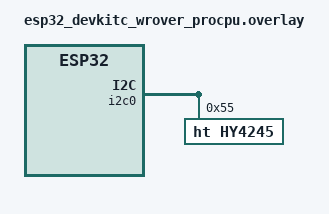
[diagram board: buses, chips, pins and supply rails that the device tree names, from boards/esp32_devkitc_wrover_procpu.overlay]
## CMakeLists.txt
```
# SPDX-License-Identifier: Apache-2.0

cmake_minimum_required(VERSION 3.20.0)
find_package(Zephyr REQUIRED HINTS $ENV{ZEPHYR_BASE})
project(hy4245)

FILE(GLOB app_sources src/*.c)
target_sources(app PRIVATE ${app_sources})
```

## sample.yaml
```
sample:
  name: HY4245 Sensor sample
```

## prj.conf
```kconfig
#CONFIG_LOG=y
#CONFIG_LOG_MODE_IMMEDIATE=y 
CONFIG_FUEL_GAUGE=y
CONFIG_SHELL=y
CONFIG_I2C=y
CONFIG_I2C_SHELL=y
```

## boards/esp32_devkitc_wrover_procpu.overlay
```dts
/*
 * Copyright (c) 2025 Linumiz
 *
 * SPDX-License-Identifier: Apache-2.0
 */


&i2c0 {
	status = "okay";
	pinctrl-0 = <&i2c0_default>;
	pinctrl-names = "default";
	hy4245:hy4245@55 {
		compatible = "ht,hy4245";
		status = "ok";
		reg = <0x55>;
	};
};
```

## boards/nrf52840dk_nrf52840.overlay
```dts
/*
 * Copyright (c) 2025 Linumiz
 *
 * SPDX-License-Identifier: Apache-2.0
 */

&i2c0 {
	status = "okay";
	compatible = "nordic,nrf-twim";
	pinctrl-0 = <&i2c0_default>;
	pinctrl-1 = <&i2c0_sleep>;
	pinctrl-names = "default", "sleep";
	hy4245:hy4245@55 {
		compatible = "ht,hy4245";
		status = "ok";
		reg = <0x55>;
	};
};
```

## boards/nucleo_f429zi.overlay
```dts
/*
 * Copyright (c) 2025 Linumiz
 *
 * SPDX-License-Identifier: Apache-2.0
 */

&i2c1 {
	status = "okay";
	hy4245:hy4245@55 {
		compatible = "ht,hy4245";
		status = "okay";
		reg = <0x55>;
	};
};
```

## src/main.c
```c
/*
 * Copyright (c) 2025
 *
 * SPDX-License-Identifier: Apache-2.0
 */

#include "zephyr/sys/util.h"
#include <zephyr/kernel.h>
#include <zephyr/device.h>
#include <zephyr/devicetree.h>
#include <zephyr/drivers/fuel_gauge.h>
#include <string.h>

int main(void)
{
	const struct device *const dev = DEVICE_DT_GET_ANY(ht_hy4245);
	int ret = 0;
	uint8_t data[32] = {0};

	if (dev == NULL) {
		printk("\nError: no device found.\n");
		return 0;
	}

	if (!device_is_ready(dev)) {
		printk("\nError: Device \"%s\" is not ready; "
		       "check the driver initialization logs for errors.\n",
		       dev->name);
		return 0;
	}

	printk("Found device \"%s\", getting fuel gauge data\n", dev->name);

	if (dev == NULL) {
		return 0;
	}

#if 0
	ret = hy4245_enable_flash_access(dev);
	if (ret) {
		printk("enable flash access err %d\n", ret);
		return 0;
	}

	ret = hy4245_set_calibration_mode(dev);
	if (ret) {
		printk("set calib mode err %d\n", ret);
		return 0;
	}
#endif

#if 0
	ret =hy4245_access_flash_data(dev, 0x3, 1,
			data, sizeof(data), true);
	if (ret) {
		printk("read flash data err %d\n", ret);
		return 0;
	}
#endif

#if 0
	printk("read flash data %d\n", ret);
	for(int i = 0; i<sizeof(data); i++)
		printk("%x\t", data[i]);

	printk("\n");
	printk("\n");
	printk("\n");
#endif
#if 0
	data[5] = 0xea;
	ret =hy4245_access_flash_data(dev, 0x3, 1,
			data, sizeof(data), false);
	if (ret) {
		printk("write flash data err %d\n", ret);
		return 0;
	}
#endif

#if 0
	uint8_t cls_id = 0x3;
	uint8_t gi[4][32] = {
#endif
#if 0
		//1
                {0x1C ,0x11 ,0x86 ,0x10 ,0x30 ,0x11 ,0x9A ,0x10 ,0x30 ,0x11 ,0x9A ,0x10 ,0x1C ,0x11 ,0x86 ,0x10 ,0x0A ,0xF0 ,0x0A ,0x1C ,0x0C ,0x03 ,0x2C ,0x00 ,0x64 ,0x00 ,0x0F ,0x00 ,0x0A ,0x00 ,0x0E ,0x28},
                {0x70 ,0x17 ,0x2C ,0x01 ,0x08 ,0x70 ,0x17 ,0x2C ,0x01 ,0x08 ,0x08 ,0x0A ,0x28 ,0x00 ,0x1E ,0xB4 ,0xF0 ,0x05 ,0x00 ,0x1C ,0x0C ,0x00 ,0x00 ,0xF1 ,0xC7 ,0x9D ,0xC5 ,0x3B ,0x00 ,0x06 ,0xC6 ,0x17},
                {0x58 ,0x02 ,0x26 ,0x02 ,0x08 ,0x58 ,0x02 ,0x26 ,0x02 ,0x08 ,0x8A ,0x02 ,0x26 ,0x02 ,0x48 ,0x06 ,0xCD ,0x67 ,0xCE ,0x9F ,0x28 ,0x80 ,0xF0 ,0x0C ,0x26 ,0x0C ,0x27 ,0x0C ,0x28 ,0x0C ,0x6E ,0x9E},
                {0x08 ,0x3C ,0x28 ,0xB0 ,0x48 ,0x78 ,0x28 ,0x80 ,0x11 ,0x00 ,0xCB ,0xA5 ,0x05 ,0x78 ,0xCC ,0x65 ,0xF7 ,0x66 ,0xCB ,0xBB ,0x35 ,0x78 ,0x05 ,0x78 ,0xCB ,0xBB ,0xCC ,0x65 ,0x01 ,0xD0 ,0xCC ,0xF1},
#endif
#if 0
                //3
                //{0x04 ,0x00 ,0x33 ,0x48 ,0x0D ,0x1E ,0x00 ,0x1C ,0x0C ,0x68 ,0x10 ,0x64 ,0xD7 ,0x00 ,0x28 ,0x19 ,0x06 ,0x06 ,0x2C ,0x00 ,0x0E ,0x01 ,0x04 ,0x00 ,0x0A ,0x00 ,0x0E ,0x1E ,0x1E ,0x00 ,0x64 ,0x54},
		// 0 - 31
                {0x04 ,0x00 ,0x31 ,0x88 ,0x13 ,0x1E ,0x00 ,0x1C ,0x0C ,0x68 ,0x10 ,0x64 ,0xD7 ,0x00 ,0x28 ,0x19 ,0x06 ,0x06 ,0x2C ,0x00 ,0x0E ,0x01 ,0x04 ,0x00 ,0x0A ,0x00 ,0x0E ,0x1E ,0x1E ,0x00 ,0x64 ,0x54},
		// 32 - 63
                {0x01 ,0x2C ,0x01 ,0xAA ,0x00 ,0xfa ,0x00 ,0x49 ,0x27 ,0x00 ,0x00 ,0x0A ,0x03 ,0x00 ,0x8C ,0x0A ,0x64 ,0x00 ,0x05 ,0x3C ,0xF0 ,0x04 ,0x00 ,0x1C ,0x0C ,0x00 ,0x00 ,0xF4 ,0x0B ,0x1F ,0x00 ,0x00},
		// 64 - 95
                {0xB8 ,0x0B ,0x5E ,0x00 ,0x07 ,0x20 ,0x00 ,0x00 ,0x54 ,0x01 ,0xC8 ,0x00 ,0xFA ,0x0A ,0x2C ,0x0B ,0xE2 ,0x09 ,0x0E ,0x0B ,0x00 ,0x00 ,0x6C ,0x0C ,0xAA ,0x0A ,0x00 ,0x0A ,0x34 ,0x21 ,0x18 ,0xFC},
                {0x01 ,0x02 ,0x28 ,0x0A ,0x00 ,0x00 ,0x00 ,0x00 ,0x00 ,0x00 ,0x77 ,0x00 ,0x00 ,0x00 ,0x1E ,0x00 ,0x00 ,0x00 ,0x00 ,0x00 ,0x00 ,0x00 ,0x00 ,0x00 ,0x00 ,0x00 ,0x00 ,0x00 ,0xC4 ,0x09 ,0x00 ,0x02},
#endif
#if 0
                //5
                {0x00 ,0x00 ,0x96 ,0x00 ,0x96 ,0x01 ,0xF5 ,0x01 ,0x26 ,0x02 ,0x0A ,0x00 ,0x00 ,0x00 ,0x1E ,0x00 ,0xB8 ,0x01 ,0x2C ,0x00 ,0x64 ,0x00 ,0x0F ,0x00 ,0x0A ,0x00 ,0x0E ,0x28 ,0x0F ,0x28 ,0x14 ,0x96},
                {0x94 ,0x11 ,0x05 ,0x0A ,0x00 ,0x64 ,0x00 ,0x0A ,0x94 ,0x11 ,0x8C ,0x0A ,0x94 ,0x11 ,0xA0 ,0x0F ,0xF0 ,0x05 ,0x00 ,0x1C ,0x0C ,0x00 ,0x00 ,0xF1 ,0xC7 ,0x9D ,0xC5 ,0x3B ,0x00 ,0x06 ,0xC6 ,0x17},
                {0xB8 ,0x0B ,0x1C ,0x0C ,0x2C ,0x01 ,0x68 ,0x10 ,0x68 ,0x10 ,0x68 ,0x10 ,0xB0 ,0x04 ,0xE8 ,0x03 ,0x20 ,0x03 ,0x68 ,0x10 ,0x68 ,0x10 ,0x68 ,0x10 ,0xDC ,0x05 ,0xB0 ,0x04 ,0xE8 ,0x03 ,0x68 ,0x10},
                {0x68 ,0x10 ,0x68 ,0x10 ,0xDC ,0x05 ,0xB0 ,0x04 ,0xE8 ,0x03 ,0x68 ,0x10 ,0x68 ,0x10 ,0x68 ,0x10 ,0xB0 ,0x04 ,0xE8 ,0x03 ,0x20 ,0x03 ,0x74 ,0x0E ,0x3C ,0x0F ,0x0A ,0x00 ,0x18 ,0x15 ,0xA0 ,0x8C},
#endif
#if 0
		//6
		{0x6D ,0x77 ,0x6B ,0x53 ,0x01 ,0x06 ,0xA8 ,0x00 ,0x59 ,0x20 ,0x00 ,0x00 ,0x46 ,0x05 ,0xF1 ,0x71 ,0x0B ,0x08 ,0x2C ,0x00 ,0x64 ,0x00 ,0x0F ,0x00 ,0x0A ,0x00 ,0x0E ,0x28 ,0x0F ,0x28 ,0x14 ,0x96},
		{0x31 ,0x00 ,0xF1 ,0x58 ,0x01 ,0x00 ,0x08 ,0x48 ,0x79 ,0x63 ,0x6F ,0x6E ,0x74 ,0x65 ,0x6B ,0xB4 ,0xF0 ,0x05 ,0x06 ,0x48 ,0x59 ,0x34 ,0x31 ,0x34 ,0x20 ,0x01 ,0x04 ,0x4C ,0x49 ,0x4F ,0x4E ,0x17},
		{0x26 ,0x02 ,0xF4 ,0x01 ,0x08 ,0x58 ,0x02 ,0x26 ,0x02 ,0x08 ,0x58 ,0x02 ,0x26 ,0x02 ,0x48 ,0x06 ,0xCD ,0x67 ,0xCE ,0x9F ,0x28 ,0x80 ,0xF0 ,0x0C ,0x26 ,0x0C ,0x27 ,0x0C ,0x28 ,0x0C ,0x6E ,0x9E},
		{0xFA ,0x0C ,0x28 ,0xB0 ,0x48 ,0x78 ,0x28 ,0x80 ,0x11 ,0x00 ,0xCB ,0xA5 ,0x05 ,0x78 ,0xCC ,0x65 ,0xF7 ,0x66 ,0xCB ,0xBB ,0x35 ,0x78 ,0x05 ,0x78 ,0xCB ,0xBB ,0xCC ,0x65 ,0x01 ,0xD0 ,0xCC ,0xF1}
#endif

#if 0
		//7
		{0x0A ,0x19 ,0x64 ,0x3C ,0x10 ,0x01 ,0x10 ,0x00 ,0x00 ,0x00 ,0x00 ,0x00 ,0x41 ,0x41 ,0x08 ,0xB8 ,0x0B ,0x08 ,0x2C ,0x00 ,0x64 ,0x00 ,0x0F ,0x00 ,0x0A ,0x00 ,0x0E ,0x28 ,0x0F ,0x28 ,0x14 ,0x96},
		{0x31 ,0x00 ,0x00 ,0x00 ,0x01 ,0x00 ,0x08 ,0x48 ,0x79 ,0x63 ,0x6F ,0x6E ,0x74 ,0x65 ,0x6B ,0xB4 ,0xF0 ,0x05 ,0x06 ,0x48 ,0x59 ,0x34 ,0x31 ,0x34 ,0x31 ,0x9D ,0x04 ,0x4C ,0x49 ,0x4F ,0x4E ,0x17},
		{0x26 ,0x02 ,0xF4 ,0x01 ,0x08 ,0x58 ,0x02 ,0x26 ,0x02 ,0x08 ,0x58 ,0x02 ,0x26 ,0x02 ,0x48 ,0x06 ,0xCD ,0x67 ,0xCE ,0x9F ,0x28 ,0x80 ,0xF0 ,0x0C ,0x26 ,0x0C ,0x27 ,0x0C ,0x28 ,0x0C ,0x6E ,0x9E},
		{0xFA ,0x0C ,0x28 ,0xB0 ,0x48 ,0x78 ,0x28 ,0x80 ,0x11 ,0x00 ,0xCB ,0xA5 ,0x05 ,0x78 ,0xCC ,0x65 ,0xF7 ,0x66 ,0xCB ,0xBB ,0x35 ,0x78 ,0x05 ,0x78 ,0xCB ,0xBB ,0xCC ,0x65 ,0x01 ,0xD0 ,0xCC ,0xF1}
#endif

#if 0
		//8
		{0x2E ,0x03 ,0x17 ,0x02 ,0xE6 ,0x01 ,0xBF ,0x01 ,0x6C ,0x01 ,0x09 ,0x01 ,0xF4 ,0x00 ,0xE4 ,0x00 ,0xCF ,0x00 ,0xBE ,0x00 ,0xAD ,0x00 ,0x9D ,0x00 ,0x8C ,0x00 ,0x98 ,0x00 ,0x88 ,0x00 ,0x7C ,0x00},
		{0x7B ,0x00 ,0x6F ,0x00 ,0x68 ,0x00 ,0x68 ,0x00 ,0x68 ,0x00 ,0x68 ,0x00 ,0x68 ,0x00 ,0x68 ,0x00 ,0x68 ,0x00 ,0x68 ,0x00 ,0x68 ,0x00 ,0x66 ,0x00 ,0x6C ,0x00 ,0x6A ,0x00 ,0x70 ,0x00 ,0x6F ,0x00},
		{0x73 ,0x00 ,0x78 ,0x00 ,0x78 ,0x00 ,0x79 ,0x00 ,0x74 ,0x00 ,0x75 ,0x00 ,0x70 ,0x00 ,0x70 ,0x00 ,0x6C ,0x00 ,0x6C ,0x00 ,0x70 ,0x00 ,0x68 ,0x00 ,0x68 ,0x00 ,0x68 ,0x00 ,0x6B ,0x00 ,0x64 ,0x00},
		{0x64 ,0x00 ,0x64 ,0x00 ,0x67 ,0x00 ,0x5B ,0x00 ,0x63 ,0x00 ,0x6E ,0x00 ,0x6F ,0x00 ,0x78 ,0x00 ,0x82 ,0x00 ,0x84 ,0x00 ,0x8C ,0x00 ,0x9A ,0x00 ,0x94 ,0x00 ,0x95 ,0x00 ,0x90 ,0x00 ,0x26 ,0x00}
#endif

#if 0

		//9
		{0x90 ,0x00 ,0x91 ,0x00 ,0x8C ,0x00 ,0x8D ,0x00 ,0x88 ,0x00 ,0x88 ,0x00 ,0x84 ,0x00 ,0x80 ,0x00 ,0x80 ,0x00 ,0x84 ,0x00 ,0x80 ,0x00 ,0x78 ,0x00 ,0x7B ,0x00 ,0x74 ,0x00 ,0x77 ,0x00 ,0x70 ,0x00},
		{0x70 ,0x00 ,0x73 ,0x00 ,0x6C ,0x00 ,0x6C ,0x00 ,0x6E ,0x00 ,0x64 ,0x00 ,0x6E ,0x00 ,0x72 ,0x00 ,0x76 ,0x00 ,0x7A ,0x00 ,0x7E ,0x00 ,0x81 ,0x00 ,0x8B ,0x00 ,0x8F ,0x00 ,0x93 ,0x00 ,0x97 ,0x00},
		{0x9B ,0x00 ,0x9F ,0x00 ,0xA3 ,0x00 ,0xAC ,0x00 ,0xB3 ,0x00 ,0x50 ,0x00 ,0x88 ,0x13 ,0x00 ,0x00 ,0x1E ,0x00 ,0x2C ,0x01 ,0xC8 ,0x00 ,0xAC ,0x0D ,0x80 ,0x0C ,0xDC ,0x05 ,0x48 ,0xF4 ,0x18 ,0xFC},
		{0xFA ,0x00 ,0x00 ,0x00 ,0x00 ,0x00 ,0x00 ,0x00 ,0x00 ,0x00 ,0x00 ,0x00 ,0x00 ,0x00 ,0x00 ,0x00 ,0x00 ,0x00 ,0x00 ,0x00 ,0x00 ,0x00 ,0x00 ,0x00 ,0x00 ,0x00 ,0x00 ,0x00 ,0x00 ,0x00 ,0xCD ,0x00}
#endif

#if 0

		//a
		{0xE3 ,0x0D ,0x65 ,0x0A ,0x37 ,0x08 ,0xE0 ,0x05 ,0xBF ,0x04 ,0x91 ,0x03 ,0x04 ,0x03 ,0x7C ,0x02 ,0xFB ,0x02 ,0x77 ,0x02 ,0x8E ,0x01 ,0x65 ,0x01 ,0x47 ,0x01 ,0x22 ,0x01 ,0xED ,0x00 ,0xD9 ,0x00},
		{0xCD ,0x00 ,0xC0 ,0x00 ,0xAC ,0x00 ,0xAC ,0x00 ,0xAC ,0x00 ,0xAC ,0x00 ,0xA8 ,0x00 ,0xB0 ,0x00 ,0xB8 ,0x00 ,0xC2 ,0x00 ,0xC8 ,0x00 ,0xC8 ,0x00 ,0xC8 ,0x00 ,0xC9 ,0x00 ,0xC4 ,0x00 ,0xC4 ,0x00},
		{0xC4 ,0x00 ,0xC5 ,0x00 ,0xC0 ,0x00 ,0xC0 ,0x00 ,0xBC ,0x00 ,0xB8 ,0x00 ,0xB4 ,0x00 ,0xB4 ,0x00 ,0xB8 ,0x00 ,0xB4 ,0x00 ,0xB0 ,0x00 ,0xA8 ,0x00 ,0xA8 ,0x00 ,0xA8 ,0x00 ,0xAB ,0x00 ,0xA4 ,0x00},
		{0xA4 ,0x00 ,0xA4 ,0x00 ,0xA7 ,0x00 ,0x9E ,0x00 ,0xA2 ,0x00 ,0xA6 ,0x00 ,0xAA ,0x00 ,0xAE ,0x00 ,0xB2 ,0x00 ,0xB6 ,0x00 ,0xBB ,0x00 ,0xBD ,0x00 ,0xC7 ,0x00 ,0xCA ,0x00 ,0xD2 ,0x00 ,0x35 ,0x00}
#endif

#if 0

		//b
		{0xDB ,0x00 ,0xDF ,0x00 ,0xE7 ,0x00 ,0xEB ,0x00 ,0xF4 ,0x00 ,0xF0 ,0x00 ,0xEC ,0x00 ,0xF0 ,0x00 ,0xEC ,0x00 ,0xE8 ,0x00 ,0xE4 ,0x00 ,0xDF ,0x00 ,0xDB ,0x00 ,0xD4 ,0x00 ,0xD4 ,0x00 ,0xD4 ,0x00},
		{0xD4 ,0x00 ,0xD7 ,0x00 ,0xD0 ,0x00 ,0xD0 ,0x00 ,0xD0 ,0x00 ,0xCC ,0x00 ,0xD4 ,0x00 ,0xDE ,0x00 ,0xE1 ,0x00 ,0xE9 ,0x00 ,0xF3 ,0x00 ,0xF5 ,0x00 ,0xFE ,0x00 ,0x06 ,0x01 ,0x0F ,0x01 ,0x12 ,0x01},
		{0x1B ,0x01 ,0x23 ,0x01 ,0x2C ,0x01 ,0x2F ,0x01 ,0x3C ,0x01 ,0xB4 ,0x00 ,0x48 ,0x0D ,0x00 ,0x00 ,0x33 ,0x01 ,0xC2 ,0x01 ,0xC8 ,0x00 ,0xCC ,0x10 ,0x80 ,0x0C ,0xDC ,0x05 ,0x48 ,0xF4 ,0x18 ,0xFC},
		{0xFA ,0x00 ,0x00 ,0x00 ,0x00 ,0x00 ,0x00 ,0x00 ,0x00 ,0x00 ,0x00 ,0x00 ,0x00 ,0x00 ,0x00 ,0x00 ,0x00 ,0x00 ,0x00 ,0x00 ,0x00 ,0x00 ,0x00 ,0x00 ,0x00 ,0x00 ,0x00 ,0x00 ,0x00 ,0x00 ,0x56 ,0x00}
#endif

#if 0

		//c
		{0x0C ,0x00 ,0x00 ,0x1C ,0x00 ,0x00 ,0x00 ,0x00 ,0x00 ,0x00 ,0x00 ,0x00 ,0x0C ,0x01 ,0xAA ,0x3E ,0x5A ,0x10 ,0xA9 ,0x0A ,0x9D ,0xFF ,0x65 ,0xFF ,0x0C ,0x02 ,0x0F ,0x5E ,0x5A ,0x10 ,0x41 ,0x0B},
		{0x3A ,0xFF ,0xCA ,0xFE ,0x0C ,0x03 ,0xCB ,0x7D ,0xE0 ,0x0F ,0xB5 ,0x0B ,0x14 ,0xFF ,0x6D ,0xFE ,0x0C ,0x04 ,0x44 ,0x9F ,0x57 ,0x0E ,0xF3 ,0x0A ,0xD9 ,0xFE ,0xF7 ,0xFD ,0x0C ,0x05 ,0xF8 ,0xBF},
		{0x71 ,0x0C ,0xEA ,0x09 ,0x34 ,0xFE ,0x23 ,0xFD ,0x0C ,0x06 ,0x7C ,0xD9 ,0x91 ,0x0C ,0xDE ,0x09 ,0x7A ,0xFE ,0x5B ,0xFD ,0x0C ,0x07 ,0x00 ,0xF3 ,0xE7 ,0x0C ,0x4D ,0x09 ,0xC0 ,0xFE ,0x93 ,0xFD},
		{0x0D ,0x08 ,0x84 ,0x0C ,0x3C ,0x0B ,0x8F ,0x07 ,0x06 ,0xFF ,0xCC ,0xFD ,0x0D ,0x0C ,0xB1 ,0x4F ,0x2F ,0x05 ,0x13 ,0x05 ,0xAB ,0xFF ,0xF2 ,0xFE ,0x0D ,0x10 ,0x00 ,0x75 ,0x08 ,0x04 ,0x1A ,0x04}
#endif

#if 0

		//d
		{0x87 ,0xFF ,0x06 ,0xFF ,0x0D ,0x14 ,0xF4 ,0x9C ,0xE1 ,0x02 ,0x73 ,0x05 ,0x4D ,0xFF ,0x97 ,0xFE ,0x0D ,0x18 ,0x0B ,0xCB ,0x9A ,0xFF ,0x66 ,0x04 ,0xB3 ,0xFE ,0xC1 ,0xFD ,0x0D ,0x1C ,0xF1 ,0xED},
		{0x02 ,0xFD ,0xD3 ,0x02 ,0xE0 ,0xFE ,0x28 ,0xFE ,0x0E ,0x20 ,0x14 ,0x09 ,0xEC ,0xFC ,0x77 ,0x01 ,0xE6 ,0xFF ,0xA4 ,0xFF ,0x0E ,0x24 ,0xF5 ,0x20 ,0xAA ,0xFD ,0xF8 ,0x00 ,0x3E ,0x00 ,0x3E ,0x00},
		{0x0E ,0x28 ,0x0C ,0x36 ,0x3E ,0xFF ,0x93 ,0x01 ,0x3F ,0x00 ,0x64 ,0x00 ,0x0E ,0x2C ,0x15 ,0x50 ,0xC6 ,0xFF ,0x35 ,0x01 ,0x43 ,0x00 ,0x71 ,0x00 ,0x0E ,0x30 ,0xAB ,0x6F ,0x29 ,0x01 ,0x2E ,0x02},
		{0x0B ,0x00 ,0x26 ,0x00 ,0x0E ,0x34 ,0x6F ,0x94 ,0x48 ,0x01 ,0xF2 ,0x01 ,0x59 ,0x00 ,0x86 ,0x00 ,0x0E ,0x38 ,0xD6 ,0xC0 ,0xD7 ,0xFF ,0xDE ,0x00 ,0x02 ,0x01 ,0x6A ,0x01 ,0x0E ,0x3C ,0xF8 ,0xEC}
#endif

#if 0

		//e
		{0x63 ,0xFE ,0xDB ,0xFF ,0x36 ,0x01 ,0x9C ,0x01 ,0x0F ,0x40 ,0x8E ,0x18 ,0xB6 ,0xFB ,0xF5 ,0xFE ,0xA5 ,0x00 ,0xA8 ,0x00 ,0x0F ,0x44 ,0x58 ,0x41 ,0xC1 ,0xF9 ,0xB8 ,0xFE ,0x23 ,0x00 ,0xE0 ,0xFF},
		{0x0F ,0x48 ,0x94 ,0x62 ,0x49 ,0xFA ,0xB1 ,0xFF ,0x04 ,0x00 ,0xC0 ,0xFF ,0x0F ,0x4C ,0x47 ,0x85 ,0x77 ,0xFA ,0x4C ,0x00 ,0xFB ,0xFF ,0xBA ,0xFF ,0x0F ,0x50 ,0xC3 ,0xAD ,0xAB ,0xF9 ,0x83 ,0xFF},
		{0x17 ,0x00 ,0xE3 ,0xFF ,0x0F ,0x54 ,0x6A ,0xD5 ,0x1A ,0xF9 ,0xEE ,0xFE ,0x2B ,0x00 ,0x00 ,0x00 ,0x0F ,0x58 ,0xB0 ,0xF7 ,0xF5 ,0xFA ,0x47 ,0xFF ,0x2B ,0x00 ,0x06 ,0x00 ,0x10 ,0x5C ,0xF5 ,0x19},
		{0xD0 ,0xFC ,0xA0 ,0xFF ,0x2C ,0x00 ,0x0D ,0x00 ,0x10 ,0x60 ,0x3A ,0x3C ,0xAB ,0xFE ,0xFA ,0xFF ,0x2C ,0x00 ,0x13 ,0x00 ,0x10 ,0x64 ,0x80 ,0x5E ,0x86 ,0x00 ,0x53 ,0x00 ,0x2D ,0x00 ,0x1A ,0x00}
#endif

#if 0

		//f
		{0x53 ,0xA4 ,0x55 ,0xB3 ,0x65 ,0xEB ,0x6C ,0xFB ,0x5B ,0xBB ,0x61 ,0xCB ,0x48 ,0xAE ,0x40 ,0x9D ,0x3E ,0x9E ,0x37 ,0x99 ,0x35 ,0x9B ,0x39 ,0x90 ,0x35 ,0x77 ,0x38 ,0x79 ,0x36 ,0x78 ,0x36 ,0x7C},
		{0x35 ,0x7E ,0x35 ,0x83 ,0x37 ,0x88 ,0x34 ,0x83 ,0x30 ,0x78 ,0x2D ,0x6B ,0x2B ,0x5E ,0x2E ,0x5D ,0x31 ,0x64 ,0x36 ,0x6F ,0x39 ,0x79 ,0x3B ,0x7E ,0x37 ,0x73 ,0x34 ,0x6B ,0x32 ,0x63 ,0x38 ,0x80},
		{0x0C ,0x20 ,0x06 ,0x0B ,0x07 ,0x0C ,0x0A ,0x0F ,0x09 ,0x0E ,0x0D ,0x13 ,0x0D ,0x13 ,0x0D ,0x13 ,0x0C ,0x10 ,0x11 ,0x15 ,0x14 ,0x18 ,0x14 ,0x17 ,0x12 ,0x16 ,0x12 ,0x16 ,0x14 ,0x18 ,0x15 ,0x19},
		{0x14 ,0x18 ,0x15 ,0x18 ,0x14 ,0x18 ,0x13 ,0x17 ,0x16 ,0x19 ,0x16 ,0x1A ,0x14 ,0x18 ,0x13 ,0x18 ,0x13 ,0x18 ,0x12 ,0x16 ,0x11 ,0x16 ,0x10 ,0x14 ,0x10 ,0x15 ,0x11 ,0x15 ,0x10 ,0x15 ,0x0F ,0x14}
#endif

#if 0

		//10
		{0xE3 ,0x0D ,0x65 ,0x0A ,0x37 ,0x08 ,0xE0 ,0x05 ,0xBF ,0x04 ,0x91 ,0x03 ,0x04 ,0x03 ,0x7C ,0x02 ,0xFB ,0x02 ,0x77 ,0x02 ,0x8E ,0x01 ,0x65 ,0x01 ,0x47 ,0x01 ,0x22 ,0x01 ,0xED ,0x00 ,0xD9 ,0x00},
		{0xCD ,0x00 ,0xC0 ,0x00 ,0xAC ,0x00 ,0xAC ,0x00 ,0xAC ,0x00 ,0xAC ,0x00 ,0xA8 ,0x00 ,0xB0 ,0x00 ,0xB8 ,0x00 ,0xC2 ,0x00 ,0xC8 ,0x00 ,0xC8 ,0x00 ,0xC8 ,0x00 ,0xC9 ,0x00 ,0xC4 ,0x00 ,0xC4 ,0x00},
		{0xC4 ,0x00 ,0xC5 ,0x00 ,0xC0 ,0x00 ,0xC0 ,0x00 ,0xBC ,0x00 ,0xB8 ,0x00 ,0xB4 ,0x00 ,0xB4 ,0x00 ,0xB8 ,0x00 ,0xB4 ,0x00 ,0xB0 ,0x00 ,0xA8 ,0x00 ,0xA8 ,0x00 ,0xA8 ,0x00 ,0xAB ,0x00 ,0xA4 ,0x00},
		{0xA4 ,0x00 ,0xA4 ,0x00 ,0xA7 ,0x00 ,0x9E ,0x00 ,0xA2 ,0x00 ,0xA6 ,0x00 ,0xAA ,0x00 ,0xAE ,0x00 ,0xB2 ,0x00 ,0xB6 ,0x00 ,0xBB ,0x00 ,0xBD ,0x00 ,0xC7 ,0x00 ,0xCA ,0x00 ,0xD2 ,0x00 ,0xDB ,0x00}
#endif

#if 0

		//11
		{0xDF ,0x00 ,0xE7 ,0x00 ,0xEB ,0x00 ,0xF4 ,0x00 ,0xF0 ,0x00 ,0xEC ,0x00 ,0xF0 ,0x00 ,0xEC ,0x00 ,0xE8 ,0x00 ,0xE4 ,0x00 ,0xDF ,0x00 ,0xDB ,0x00 ,0xD4 ,0x00 ,0xD4 ,0x00 ,0xD4 ,0x00 ,0xD4 ,0x00},
		{0xD7 ,0x00 ,0xD0 ,0x00 ,0xD0 ,0x00 ,0xD0 ,0x00 ,0xCC ,0x00 ,0xD4 ,0x00 ,0xDE ,0x00 ,0xE1 ,0x00 ,0xE9 ,0x00 ,0xF3 ,0x00 ,0xF5 ,0x00 ,0xFE ,0x00 ,0x06 ,0x01 ,0x0F ,0x01 ,0x12 ,0x01 ,0x1B ,0x01},
		{0x23 ,0x01 ,0x2C ,0x01 ,0x2F ,0x01 ,0x3C ,0x01 ,0xB4 ,0x00 ,0x23 ,0x00 ,0x06 ,0x01 ,0x2B ,0x00 ,0x17 ,0x00 ,0xE6 ,0x5C ,0x94 ,0x5D ,0xB4 ,0x62 ,0x8D ,0x63 ,0x00 ,0x64 ,0xF0 ,0xFA ,0x9B ,0xFF},
		{0x81 ,0xFF ,0x7E ,0xFF ,0xAD ,0x24 ,0x5F ,0x0B ,0x65 ,0x09 ,0xE8 ,0x06 ,0x5C ,0x04 ,0x97 ,0xFF ,0xCB ,0xFF ,0xA5 ,0xFF ,0xEA ,0xFF ,0x3B ,0x06 ,0x2F ,0x04 ,0x24 ,0x03 ,0x5F ,0x01 ,0xF0 ,0x00}
#endif

#if 0

		//18
		{0x0C ,0x00 ,0x00 ,0x1C ,0x00 ,0x00 ,0x00 ,0x00 ,0x00 ,0x00 ,0x00 ,0x00 ,0x0C ,0x01 ,0x3A ,0x3D ,0x7A ,0x00 ,0x29 ,0x00 ,0x8C ,0xFF ,0xFD ,0xFE ,0x0C ,0x02 ,0x95 ,0x5A ,0x33 ,0x01 ,0x68 ,0x00},
		{0x7A ,0xFF ,0xF3 ,0xFE ,0x0C ,0x03 ,0xC7 ,0x78 ,0xB6 ,0x01 ,0xAC ,0x00 ,0x83 ,0xFF ,0xEE ,0xFE ,0x0C ,0x04 ,0x91 ,0x98 ,0x18 ,0x02 ,0xEC ,0x00 ,0x52 ,0xFF ,0x81 ,0xFE ,0x0C ,0x05 ,0xBF ,0xB6},
		{0xE3 ,0x02 ,0x14 ,0x01 ,0xE2 ,0xFE ,0xAE ,0xFD ,0x0C ,0x06 ,0x9D ,0xD0 ,0xC2 ,0x02 ,0x25 ,0x01 ,0x06 ,0xFF ,0xE7 ,0xFD ,0x0C ,0x07 ,0x7A ,0xEA ,0x7F ,0x02 ,0x37 ,0x01 ,0x29 ,0xFF ,0x20 ,0xFE},
		{0x0D ,0x08 ,0x58 ,0x04 ,0x3C ,0x02 ,0x48 ,0x01 ,0x4D ,0xFF ,0x5A ,0xFE ,0x0D ,0x0C ,0x4E ,0x4A ,0x1A ,0x01 ,0xB7 ,0x00 ,0xD2 ,0xFF ,0x7A ,0xFF ,0x0D ,0x10 ,0x42 ,0x70 ,0x0B ,0x01 ,0x7A ,0x00}
#endif

#if 0

		//19
		{0xD3 ,0xFF ,0x8A ,0xFF ,0x0D ,0x14 ,0xFB ,0x96 ,0x7E ,0x01 ,0xC0 ,0x00 ,0x97 ,0xFF ,0xF9 ,0xFE ,0x0D ,0x18 ,0xC8 ,0xC1 ,0x64 ,0x02 ,0x0D ,0x01 ,0x70 ,0xFF ,0xD3 ,0xFE ,0x0D ,0x1C ,0x3A ,0xE6},
		{0x06 ,0x02 ,0xCA ,0x00 ,0x75 ,0xFF ,0xA4 ,0xFE ,0x0E ,0x20 ,0xE9 ,0x06 ,0x6A ,0x00 ,0x43 ,0x00 ,0xB2 ,0xFF ,0xD6 ,0xFE ,0x0E ,0x24 ,0x53 ,0x21 ,0xB5 ,0xFF ,0xF2 ,0xFF ,0xE9 ,0xFF ,0x5A ,0xFF},
		{0x0E ,0x28 ,0xFA ,0x36 ,0x8F ,0xFF ,0xCE ,0xFF ,0x56 ,0x00 ,0x7E ,0x00 ,0x0E ,0x2C ,0xF0 ,0x50 ,0x7E ,0xFF ,0xC6 ,0xFF ,0x91 ,0x00 ,0x09 ,0x01 ,0x0E ,0x30 ,0x3D ,0x6F ,0xC9 ,0xFF ,0xD7 ,0xFF},
		{0x75 ,0x00 ,0xCE ,0x00 ,0x0E ,0x34 ,0x5F ,0x95 ,0x62 ,0xFF ,0xC8 ,0xFF ,0x63 ,0x00 ,0x99 ,0x00 ,0x0E ,0x38 ,0x0A ,0xC6 ,0x61 ,0xFE ,0x86 ,0xFF ,0xFB ,0xFF ,0x9C ,0xFF ,0x0E ,0x3C ,0x42 ,0xF3}
#endif

#if 0

		//1a
		{0x1F ,0xFE ,0x80 ,0xFF ,0xBB ,0xFF ,0x17 ,0xFF ,0x0F ,0x40 ,0x39 ,0x1A ,0x2F ,0xFF ,0xEA ,0xFF ,0xEB ,0xFF ,0x9C ,0xFF ,0x0F ,0x44 ,0x55 ,0x3F ,0x0C ,0x00 ,0x34 ,0x00 ,0xFE ,0xFF ,0xD2 ,0xFF},
		{0x0F ,0x48 ,0xC7 ,0x5F ,0x23 ,0x00 ,0x32 ,0x00 ,0xF3 ,0xFF ,0xBD ,0xFF ,0x0F ,0x4C ,0x0E ,0x82 ,0x23 ,0x00 ,0x30 ,0x00 ,0xF7 ,0xFF ,0xC6 ,0xFF ,0x0F ,0x50 ,0x11 ,0xAB ,0x01 ,0x00 ,0x27 ,0x00},
		{0x00 ,0x00 ,0xC4 ,0xFF ,0x0F ,0x54 ,0x32 ,0xD3 ,0xEA ,0xFF ,0x20 ,0x00 ,0xFE ,0xFF ,0xAC ,0xFF ,0x0F ,0x58 ,0xF9 ,0xF5 ,0xEE ,0xFF ,0x23 ,0x00 ,0xE1 ,0xFF ,0x72 ,0xFF ,0x10 ,0x5C ,0xBF ,0x18},
		{0xF3 ,0xFF ,0x27 ,0x00 ,0xC4 ,0xFF ,0x37 ,0xFF ,0x10 ,0x60 ,0x87 ,0x3B ,0xF8 ,0xFF ,0x2A ,0x00 ,0xA7 ,0xFF ,0xFD ,0xFE ,0x10 ,0x64 ,0x4D ,0x5E ,0xFD ,0xFF ,0x2D ,0x00 ,0x8A ,0xFF ,0xC3 ,0xFE}
#endif

#if 0

		//1b
		{0x33 ,0x92 ,0x38 ,0xA5 ,0x35 ,0x8F ,0x30 ,0x70 ,0x2F ,0xA3 ,0x37 ,0xAE ,0x37 ,0x97 ,0x37 ,0x93 ,0x31 ,0x86 ,0x29 ,0x46 ,0x29 ,0x38 ,0x26 ,0x34 ,0x26 ,0x38 ,0x27 ,0x3A ,0x26 ,0x35 ,0x27 ,0x35},
		{0x26 ,0x35 ,0x26 ,0x33 ,0x27 ,0x34 ,0x23 ,0x2F ,0x22 ,0x2A ,0x25 ,0x2B ,0x28 ,0x33 ,0x2B ,0x3B ,0x2B ,0x3B ,0x29 ,0x3B ,0x29 ,0x3D ,0x26 ,0x3B ,0x26 ,0x39 ,0x26 ,0x38 ,0x25 ,0x37 ,0x2A ,0x46},
		{0x1D ,0x20 ,0x16 ,0x1A ,0x16 ,0x1C ,0x13 ,0x1C ,0x1B ,0x1B ,0x1D ,0x1F ,0x1D ,0x1F ,0x1E ,0x1F ,0x1F ,0x20 ,0x1E ,0x1D ,0x1C ,0x1C ,0x1C ,0x1D ,0x1B ,0x1D ,0x19 ,0x1C ,0x18 ,0x1B ,0x19 ,0x1C},
		{0x1A ,0x1D ,0x1B ,0x1C ,0x1A ,0x1D ,0x17 ,0x1A ,0x17 ,0x1A ,0x17 ,0x1C ,0x18 ,0x1B ,0x18 ,0x1B ,0x18 ,0x1B ,0x19 ,0x1C ,0x19 ,0x1C ,0x18 ,0x1A ,0x18 ,0x1A ,0x18 ,0x1A ,0x18 ,0x1A ,0x19 ,0x1B}
#endif

#if 0

		//1c
		{0x2E ,0x03 ,0x17 ,0x02 ,0xE6 ,0x01 ,0xBF ,0x01 ,0x6C ,0x01 ,0x09 ,0x01 ,0xF4 ,0x00 ,0xE4 ,0x00 ,0xCF ,0x00 ,0xBE ,0x00 ,0xAD ,0x00 ,0x9D ,0x00 ,0x8C ,0x00 ,0x98 ,0x00 ,0x88 ,0x00 ,0x7C ,0x00},
		{0x7B ,0x00 ,0x6F ,0x00 ,0x68 ,0x00 ,0x68 ,0x00 ,0x68 ,0x00 ,0x68 ,0x00 ,0x68 ,0x00 ,0x68 ,0x00 ,0x68 ,0x00 ,0x68 ,0x00 ,0x68 ,0x00 ,0x66 ,0x00 ,0x6C ,0x00 ,0x6A ,0x00 ,0x70 ,0x00 ,0x6F ,0x00},
		{0x73 ,0x00 ,0x78 ,0x00 ,0x78 ,0x00 ,0x79 ,0x00 ,0x74 ,0x00 ,0x75 ,0x00 ,0x70 ,0x00 ,0x70 ,0x00 ,0x6C ,0x00 ,0x6C ,0x00 ,0x70 ,0x00 ,0x68 ,0x00 ,0x68 ,0x00 ,0x68 ,0x00 ,0x6B ,0x00 ,0x64 ,0x00},
		{0x64 ,0x00 ,0x64 ,0x00 ,0x67 ,0x00 ,0x5B ,0x00 ,0x63 ,0x00 ,0x6E ,0x00 ,0x6F ,0x00 ,0x78 ,0x00 ,0x82 ,0x00 ,0x84 ,0x00 ,0x8C ,0x00 ,0x9A ,0x00 ,0x94 ,0x00 ,0x95 ,0x00 ,0x90 ,0x00 ,0x90 ,0x00}
#endif

#if 0

		//1d
		{0x91 ,0x00 ,0x8C ,0x00 ,0x8D ,0x00 ,0x88 ,0x00 ,0x88 ,0x00 ,0x84 ,0x00 ,0x80 ,0x00 ,0x80 ,0x00 ,0x84 ,0x00 ,0x80 ,0x00 ,0x78 ,0x00 ,0x7B ,0x00 ,0x74 ,0x00 ,0x77 ,0x00 ,0x70 ,0x00 ,0x70 ,0x00},
		{0x73 ,0x00 ,0x6C ,0x00 ,0x6C ,0x00 ,0x6E ,0x00 ,0x64 ,0x00 ,0x6E ,0x00 ,0x72 ,0x00 ,0x76 ,0x00 ,0x7A ,0x00 ,0x7E ,0x00 ,0x81 ,0x00 ,0x8B ,0x00 ,0x8F ,0x00 ,0x93 ,0x00 ,0x97 ,0x00 ,0x9B ,0x00},
		{0x9F ,0x00 ,0xA3 ,0x00 ,0xAC ,0x00 ,0xB3 ,0x00 ,0x50 ,0x00 ,0x2D ,0x00 ,0x17 ,0x00 ,0x14 ,0x00 ,0x24 ,0x00 ,0x96 ,0x61 ,0x77 ,0x62 ,0xEB ,0x62 ,0x4E ,0x63 ,0x00 ,0x64 ,0x82 ,0xFF ,0x7B ,0xFF},
		{0xB0 ,0xFF ,0xF1 ,0xFF ,0xA9 ,0x09 ,0x35 ,0x07 ,0x9E ,0x04 ,0x0E ,0x03 ,0xC2 ,0x02 ,0x9F ,0xFF ,0xE5 ,0xFF ,0xFE ,0xFF ,0x0C ,0x00 ,0x63 ,0x03 ,0x7F ,0x01 ,0xF9 ,0x00 ,0xEE ,0x00 ,0x2B ,0x01}
#endif

#if 0

		//1e
		{0xC0 ,0x00 ,0xDF ,0x00 ,0x03 ,0x01 ,0x2E ,0x01 ,0x62 ,0x01 ,0xA0 ,0x01 ,0xEB ,0x01 ,0x47 ,0x02 ,0xB6 ,0x02 ,0x3F ,0x03 ,0xE8 ,0x03 ,0xB9 ,0x04 ,0xBE ,0x05 ,0x04 ,0x07 ,0x9F ,0x08 ,0xA8 ,0x0A},
		{0x41 ,0x0D ,0x95 ,0x10 ,0xE2 ,0x14 ,0x7C ,0x1A ,0xD4 ,0x21 ,0x7A ,0x2B ,0x5E ,0x38 ,0xA2 ,0x49 ,0x29 ,0xA5 ,0x38 ,0x8E ,0x11 ,0x77 ,0x76 ,0x62 ,0x94 ,0x52 ,0x44 ,0x44 ,0xA6 ,0x37 ,0x20 ,0x2E},
		{0x5F ,0x25 ,0x4B ,0x1E ,0x7F ,0x18 ,0x9D ,0x13 ,0xB4 ,0x0F ,0x75 ,0x0C ,0xD3 ,0x09 ,0xB3 ,0x07 ,0x02 ,0x06 ,0xA6 ,0x04 ,0x92 ,0x03 ,0xB9 ,0x02 ,0x12 ,0x02 ,0x8D ,0x01 ,0x28 ,0x01 ,0x28 ,0x01},
		{0x3A ,0x0C ,0xD6 ,0x0B ,0x72 ,0x0B ,0x0E ,0x0B ,0xAA ,0x0A ,0x00 ,0x05 ,0x00 ,0x05 ,0x00 ,0x05 ,0x00 ,0x05 ,0xFA ,0x0A ,0x08 ,0x0C ,0xE2 ,0x09 ,0x9E ,0x0C ,0xD0 ,0x07 ,0x64 ,0x00 ,0x00 ,0x00}
#endif
#if 0
		//1f
		{0x88 ,0x42 ,0x80 ,0x28 ,0xFF ,0xFF ,0xFF ,0xFF ,0xFF ,0xFF ,0xFF ,0xFF ,0xFF ,0xFF ,0xFF ,0xFF ,0xFF ,0xFF ,0xFF ,0xFF ,0xFF ,0xFF ,0xFF ,0xFF ,0xFF ,0xFF ,0xFF ,0xFF ,0xFF ,0xFF ,0xFF ,0xFF}
#endif

#if 0

		//20
		{0x00 ,0x00 ,0x00 ,0x00 ,0x00 ,0x00 ,0x00 ,0x00 ,0x00 ,0x00 ,0x00 ,0x00 ,0x00 ,0x00 ,0x00 ,0x00 ,0x00 ,0x00 ,0x00 ,0x00 ,0x00 ,0x00 ,0x00 ,0x00 ,0x00 ,0x00 ,0x00 ,0x00 ,0x00 ,0x00 ,0x00 ,0x00},
		{0x85 ,0x95 ,0x4E ,0x00 ,0x00 ,0x00 ,0x00 ,0x00 ,0x00 ,0x00 ,0x00 ,0x00 ,0x00 ,0x00 ,0x00 ,0x00 ,0x00 ,0x00 ,0x00 ,0x00 ,0x00 ,0x00 ,0x00 ,0x00 ,0x00 ,0x00 ,0x00 ,0x00 ,0x00 ,0x00 ,0x00 ,0x00},
		{0x00 ,0x00 ,0x00 ,0x00 ,0x00 ,0x00 ,0x00 ,0x00 ,0x00 ,0x00 ,0x00 ,0x00 ,0x00 ,0x00 ,0x00 ,0x00 ,0x00 ,0x00 ,0x00 ,0x00 ,0x00 ,0x00 ,0x00 ,0x00 ,0x00 ,0x00 ,0x00 ,0x00 ,0x00 ,0x00 ,0x00 ,0x00},
		{0x00 ,0x00 ,0x00 ,0x00 ,0x00 ,0x00 ,0x00 ,0x00 ,0x00 ,0x00 ,0x00 ,0x00 ,0x00 ,0x00 ,0x00 ,0x00 ,0x00 ,0x00 ,0x00 ,0x00 ,0x00 ,0x00 ,0x00 ,0x00 ,0x00 ,0x00 ,0x00 ,0x00 ,0x00 ,0x00 ,0x00 ,0x00}
#endif
#if 0
	};
	for (int i = 0; i < 4; i++) {
		ret =hy4245_access_flash_data(dev, cls_id, i,
				gi[i], sizeof(gi[0]), false);
		if (ret) {
			printk("write flash data err %d\n", ret);
			return 0;
		}
	}

	for (int i = 0; i < 4; i++) {
		ret =hy4245_access_flash_data(dev, cls_id, i,
				gi[i], sizeof(gi[0]), true);
		if (ret) {
			printk("write flash data err %d\n", ret);
			return 0;
		}
		for(int j = 0; j < sizeof(gi[j]); j++)
			printk("%x\t", gi[i][j]);
		printk("\n\n");
	}

	return 0;
#endif

	while (1) {
		fuel_gauge_prop_t props[] = {
			FUEL_GAUGE_RUNTIME_TO_EMPTY,
			FUEL_GAUGE_RUNTIME_TO_FULL,
			FUEL_GAUGE_VOLTAGE,
			FUEL_GAUGE_REMAINING_CAPACITY,
			FUEL_GAUGE_FULL_CHARGE_CAPACITY,
			FUEL_GAUGE_CHARGE_VOLTAGE,
			FUEL_GAUGE_CHARGE_CURRENT,
			FUEL_GAUGE_RELATIVE_STATE_OF_CHARGE,

			FUEL_GAUGE_TEMPERATURE,
			FUEL_GAUGE_CURRENT,
			FUEL_GAUGE_AVG_CURRENT,
			FUEL_GAUGE_DESIGN_CAPACITY,
		};

		union fuel_gauge_prop_val vals[ARRAY_SIZE(props)];

		memset(vals, 0, sizeof(vals));
		ret = fuel_gauge_get_props(dev, props, vals, ARRAY_SIZE(props));
		if (ret < 0) {
			printk("Error: cannot get properties\n");
		} else {
			printk("Time to empty %d minutes\n", vals[0].runtime_to_empty);

			printk("Time to full %d minutes\n", vals[1].runtime_to_full);

			printk("Voltage %d uV\n", vals[2].voltage);

			printk("Remaning capacity %d uAh\n", vals[3].remaining_capacity);
			printk("full capacity %d uAh\n", vals[4].full_charge_capacity);

			printk("Charge voltge %d uV\n", vals[5].chg_voltage);
			printk("Charge current %d uA\n", vals[6].chg_current);
			printk("rt chrg %u\n", vals[7].relative_state_of_charge);
			printk("temperature %u\n", vals[8].temperature);
			printk("current %d\n", vals[9].current);
			printk("avg curr %d\n", vals[10].avg_current);
			printk("design cap %d\n", vals[11].design_cap);
		}

		k_sleep(K_MSEC(5000));
	}
	return 0;
}
```
